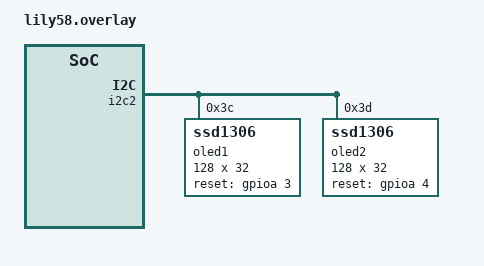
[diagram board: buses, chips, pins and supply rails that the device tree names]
/dts-v1/;
/plugin/;

/ {
    fragment@0 {
        target = <&i2c2>;
        __overlay__ {
            status = "okay";
            oled1: oled@3c {
                compatible = "ssd1306";
                reg = <0x3c>;
                reset-gpios = <&gpioa 3 GPIO_ACTIVE_HIGH>;
                width = <128>;
                height = <32>;
                rotate = <0>;
            };
            oled2: oled@3d {
                compatible = "ssd1306";
                reg = <0x3d>;
                reset-gpios = <&gpioa 4 GPIO_ACTIVE_HIGH>;
                width = <128>;
                height = <32>;
                rotate = <0>;
            };
        };
    };
};
